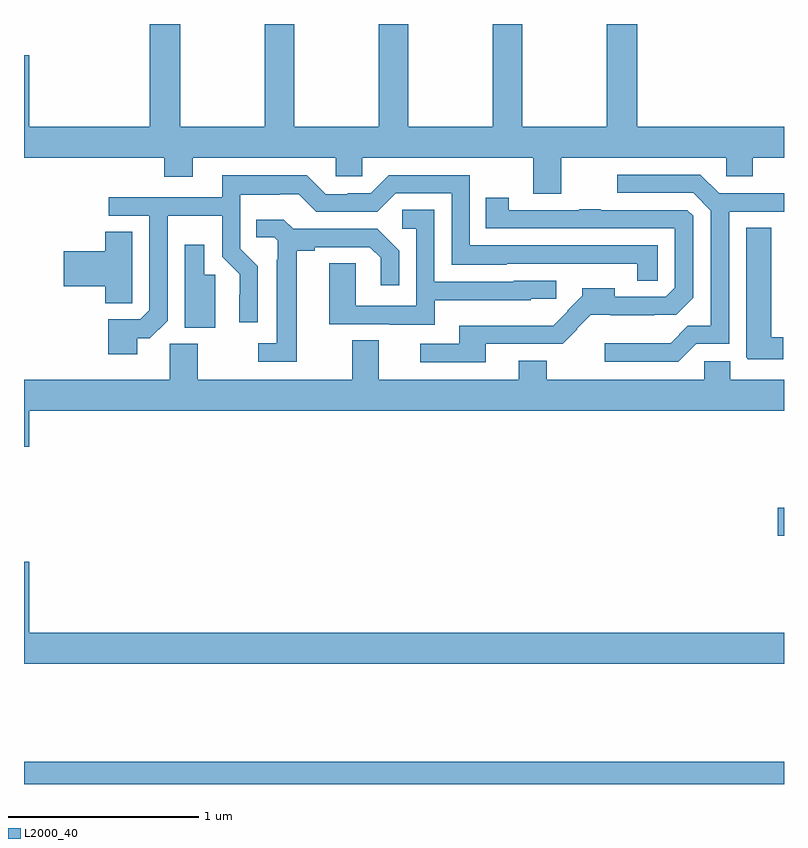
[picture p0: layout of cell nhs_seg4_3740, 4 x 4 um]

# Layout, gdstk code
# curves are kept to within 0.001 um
import gdstk
lib = gdstk.Library(unit=1e-6, precision=1e-09)
def R(c, l, rs):  # rectangles x0, y0, x1, y1
    for r in rs: c.add(gdstk.rectangle(r[:2], r[2:], *l))
def P(c, l, *ps):  # polygons
    for p in ps: c.add(gdstk.Polygon(p, *l))
L2000_40 = (2000, 40)

nhs_seg4_3740 = lib.new_cell('nhs_seg4_3740')
R(nhs_seg4_3740, L2000_40, [(309,750.9,313,751.016), (312.966,752.207,313,752.354)])
P(nhs_seg4_3740, L2000_40, [(309.662,754.9),(309.662,754.36),(309.028,754.36),(309.028,754.735),(309,754.735),(309,754.196),(309.737,754.196),(309.737,754.097),(309.889,754.097),(309.889,754.196),(310.641,754.196),(310.641,754.098),(310.779,754.098),(310.779,754.196),(311.68,754.196),(311.68,754.006),(311.827,754.006),(311.827,754.196),(312.696,754.196),(312.696,754.098),(312.835,754.098),(312.835,754.196),(313,754.196),(313,754.36),(312.227,754.36),(312.227,754.9),(312.067,754.9),(312.067,754.36),(311.622,754.36),(311.622,754.9),(311.467,754.9),(311.467,754.36),(311.022,754.36),(311.022,754.9),(310.867,754.9),(310.867,754.36),(310.422,754.36),(310.422,754.9),(310.267,754.9),(310.267,754.36),(309.822,754.36),(309.822,754.9)],
  [(312.537,753.216),(312.711,753.216),(312.711,753.912),(313,753.912),(313,754.008),(312.658,754.008),(312.559,754.107),(312.123,754.107),(312.123,754.011),(312.522,754.011),(312.615,753.918),(312.615,753.311),(312.494,753.311),(312.403,753.22),(312.057,753.22),(312.057,753.123),(312.444,753.123)],
  [(309.447,753.987),(309.447,753.891),(309.66,753.891),(309.66,753.393),(309.612,753.345),(309.443,753.345),(309.443,753.162),(309.595,753.162),(309.595,753.247),(309.663,753.247),(309.756,753.339),(309.756,753.89),(310.044,753.89),(310.044,753.674),(310.136,753.582),(310.136,753.476),(310.134,753.476),(310.134,753.33),(310.23,753.33),(310.23,753.624),(310.137,753.717),(310.137,754.001),(310.346,754.001),(310.346,754.005),(310.446,754.005),(310.539,753.912),(310.86,753.912),(310.956,754.008),(311.25,754.008),(311.25,753.632),(311.541,753.632),(311.541,753.639),(312.228,753.638),(312.228,753.55),(312.336,753.55),(312.336,753.735),(311.346,753.735),(311.346,754.104),(310.92,754.104),(310.824,754.008),(310.704,754.008),(310.704,754.005),(310.587,754.005),(310.487,754.105),(310.043,754.105),(310.043,753.987)],
  [(311.431,753.216),(311.835,753.216),(311.911,753.293),(311.909,753.295),(311.983,753.369),(312.317,753.368),(312.317,753.37),(312.433,753.37),(312.522,753.459),(312.522,753.891),(312.492,753.921),(312.035,753.921),(312.035,753.926),(311.923,753.926),(311.923,753.921),(311.55,753.921),(311.55,753.985),(311.431,753.985),(311.431,753.825),(312.426,753.825),(312.426,753.513),(312.378,753.465),(312.109,753.465),(312.109,753.508),(311.938,753.508),(311.938,753.469),(311.859,753.39),(311.862,753.387),(311.786,753.311),(311.684,753.311),(311.684,753.313),(311.291,753.313),(311.291,753.216),(311.085,753.216),(311.085,753.12),(311.431,753.12)],
  [(311.161,753.446),(311.667,753.446),(311.667,753.453),(311.802,753.453),(311.802,753.549),(311.577,753.549),(311.577,753.543),(311.16,753.543),(311.16,753.923),(310.992,753.923),(310.992,753.822),(311.064,753.822),(311.064,753.417),(310.746,753.417),(310.746,753.641),(310.607,753.641),(310.607,753.321),(310.925,753.321),(310.925,753.317),(311.161,753.317)],
  [(310.435,753.706),(310.531,753.706),(310.531,753.726),(310.82,753.726),(310.877,753.669),(310.877,753.525),(310.974,753.525),(310.974,753.706),(310.858,753.822),(310.416,753.822),(310.368,753.869),(310.222,753.869),(310.222,753.777),(310.317,753.777),(310.335,753.759),(310.335,753.659),(310.331,753.659),(310.331,753.219),(310.233,753.219),(310.233,753.123),(310.435,753.123)],
  [(312.997,753.251),(312.934,753.251),(312.934,753.827),(312.8,753.827),(312.8,753.145),(312.81,753.135),(312.997,753.135)],
  [(309.57,753.538),(309.571,753.538),(309.571,753.806),(309.428,753.806),(309.428,753.704),(309.21,753.704),(309.21,753.521),(309.428,753.521),(309.428,753.43),(309.57,753.43)],
  [(310.006,753.579),(309.949,753.579),(309.949,753.739),(309.845,753.739),(309.845,753.301),(310.006,753.301)],
  [(309.028,752.864),(313,752.864),(313,753.028),(312.718,753.028),(312.718,753.126),(312.579,753.126),(312.579,753.028),(311.751,753.028),(311.751,753.127),(311.603,753.127),(311.603,753.028),(310.867,753.028),(310.867,753.236),(310.727,753.236),(310.727,753.028),(309.915,753.028),(309.915,753.216),(309.768,753.216),(309.768,753.028),(309,753.028),(309,752.676),(309.028,752.676)],
  [(313,751.696),(309.028,751.696),(309.028,752.071),(309,752.071),(309,751.532),(313,751.532)])

lib.write_gds('nhs_seg4_3740.gds')
